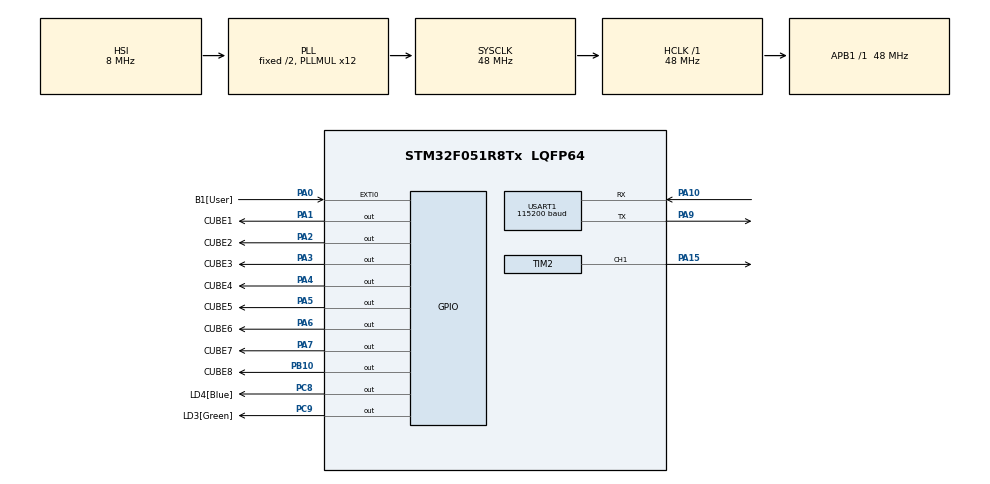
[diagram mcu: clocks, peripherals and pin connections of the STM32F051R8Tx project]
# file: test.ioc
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Mcu.Family=STM32F0
Mcu.Name=STM32F051R8Tx
Mcu.Package=LQFP64
NVIC.EXTI0_1_IRQn=true\:0\:0\:false\:false\:true\:true\:true
NVIC.TIM2_IRQn=true\:0\:0\:false\:false\:true\:true\:true
NVIC.USART1_IRQn=true\:0\:0\:false\:false\:true\:true\:true
PA0.GPIO_Label=B1[User]
PA0.GPIO_ModeDefaultEXTI=GPIO_MODE_IT_RISING_FALLING
PA0.GPIO_PuPd=GPIO_NOPULL
PA0.Signal=GPXTI0
PA1.GPIO_Label=CUBE1
PA1.GPIO_PuPd=GPIO_PULLUP
PA1.PinState=GPIO_PIN_SET
PA1.Signal=GPIO_Output
PA10.Mode=Asynchronous
PA10.Signal=USART1_RX
PA15.Signal=S_TIM2_CH1_ETR
PA2.GPIO_Label=CUBE2
PA2.GPIO_PuPd=GPIO_PULLUP
PA2.PinState=GPIO_PIN_SET
PA2.Signal=GPIO_Output
PA3.GPIO_Label=CUBE3
PA3.GPIO_PuPd=GPIO_PULLUP
PA3.PinState=GPIO_PIN_SET
PA3.Signal=GPIO_Output
PA4.GPIO_Label=CUBE4
PA4.GPIO_PuPd=GPIO_PULLUP
PA4.PinState=GPIO_PIN_SET
PA4.Signal=GPIO_Output
PA5.GPIO_Label=CUBE5
PA5.GPIO_PuPd=GPIO_PULLUP
PA5.PinState=GPIO_PIN_SET
PA5.Signal=GPIO_Output
PA6.GPIO_Label=CUBE6
PA6.GPIO_PuPd=GPIO_PULLUP
PA6.GPIO_Speed=GPIO_SPEED_FREQ_LOW
PA6.PinState=GPIO_PIN_SET
PA6.Signal=GPIO_Output
PA7.GPIO_Label=CUBE7
PA7.GPIO_PuPd=GPIO_PULLUP
PA7.PinState=GPIO_PIN_SET
PA7.Signal=GPIO_Output
PA9.Mode=Asynchronous
PA9.Signal=USART1_TX
PB10.GPIO_Label=CUBE8
PB10.GPIO_PuPd=GPIO_PULLUP
PB10.PinState=GPIO_PIN_SET
PB10.Signal=GPIO_Output
PC8.GPIO_Label=LD4[Blue]
PC8.Signal=GPIO_Output
PC9.GPIO_Label=LD3[Green]
PC9.Signal=GPIO_Output
ProjectManager.HeapSize=0x200
ProjectManager.StackSize=0x400
ProjectManager.TargetToolchain=MDK-ARM V5.27
RCC.AHBFreq_Value=48000000
RCC.APB1Freq_Value=48000000
RCC.APB1TimFreq_Value=48000000
RCC.HCLKFreq_Value=48000000
RCC.PLLMUL=RCC_PLL_MUL12
RCC.SYSCLKFreq_VALUE=48000000
RCC.SYSCLKSource=RCC_SYSCLKSOURCE_PLLCLK
SH.S_TIM2_CH1_ETR.0=TIM2_CH1,PWM Generation1 CH1
TIM2.AutoReloadPreload=TIM_AUTORELOAD_PRELOAD_DISABLE
TIM2.Channel-PWM\ Generation1\ CH1=TIM_CHANNEL_1
TIM2.Period=1000
TIM2.Prescaler=960
USART1.BaudRate=115200
USART1.VirtualMode-Asynchronous=VM_ASYNC
VP_TIM2_VS_ClockSourceINT.Mode=Internal
board=custom

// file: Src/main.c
/* USER CODE BEGIN Header */
/**
  ******************************************************************************
  * @file           : main.c
  * @brief          : Main program body
  ******************************************************************************
  * @attention
  *
  * <h2><center>&copy; Copyright (c) 2020 STMicroelectronics.
  * All rights reserved.</center></h2>
  *
  * This software component is licensed by ST under BSD 3-Clause license,
  * the "License"; You may not use this file except in compliance with the
  * License. You may obtain a copy of the License at:
  *                        opensource.org/licenses/BSD-3-Clause
  *
  ******************************************************************************
  */
/* USER CODE END Header */

#include "main.h"

/* USER CODE BEGIN Includes */
#include <stdio.h>
#include <string.h>
/* USER CODE END Includes */

/* USER CODE BEGIN PD */
#define TEST_PASS 0
#define TEST_FAIL 1
#define TEST_GO 1
#define TEST_WAIT 0
/* USER CODE END PD */

TIM_HandleTypeDef htim2;

UART_HandleTypeDef huart1;

/* USER CODE BEGIN PV */
uint8_t buf_uart_rx[128];
uint8_t uart_rx[2];
int pos_uart_rx = 0;
int isUartRXCplt = 0;

int isGoTest = 0;

/* USER CODE END PV */

void SystemClock_Config(void);
static void MX_GPIO_Init(void);
static void MX_USART1_UART_Init(void);
static void MX_TIM2_Init(void);
/* USER CODE BEGIN PFP */
#ifdef __GNUC__
  /* With GCC/RAISONANCE, small printf (option LD Linker->Libraries->Small printf
     set to 'Yes') calls __io_putchar() */
  #define PUTCHAR_PROTOTYPE int __io_putchar(int ch)
#else
  #define PUTCHAR_PROTOTYPE int fputc(int ch, FILE *f)
#endif /* __GNUC__ */
/**
  * @brief  Retargets the C library printf function to the USART.
  * @param  None
  * @retval None
  */
PUTCHAR_PROTOTYPE
{
    /* Place your implementation of fputc here */
    /* e.g. write a character to the USART */
    //HAL_UART_Transmit(&huart1, (uint8_t *)&ch, 1, 100);
    return ch;
}

void HAL_UART_RxCpltCallback(UART_HandleTypeDef *huart){
	//HAL_GPIO_TogglePin(GPIOC, GPIO_PIN_9);
	if (huart->Instance != USART1) return;
	if (pos_uart_rx == 0) memset(buf_uart_rx, 0, 128);
	if (pos_uart_rx >= 128) {
		pos_uart_rx = 0;
	}
	HAL_UART_Receive_IT(huart, uart_rx, 1);
	if (uart_rx[0] == ' ') {
		buf_uart_rx[pos_uart_rx++] = uart_rx[0];
		isUartRXCplt = 1;
		pos_uart_rx = 0;
	}
	else {
		buf_uart_rx[pos_uart_rx++] = uart_rx[0];
		isUartRXCplt = 1;
	}
	//int i = 1000*1000;
	//while (i--) {__NOP();}
	//HAL_GPIO_TogglePin(GPIOC, GPIO_PIN_9);
}

/**
  * @brief  EXTI line detection callback.
  * @param  GPIO_Pin Specifies the port pin connected to corresponding EXTI line.
  * @retval None
  */
void HAL_GPIO_EXTI_Callback(uint16_t GPIO_Pin)
{
#if 0
	//int i = 1000*1000;
  switch (GPIO_Pin) {
		case GPIO_PIN_0:
			HAL_GPIO_WritePin(GPIOC, GPIO_PIN_9, HAL_GPIO_ReadPin(GPIOA, GPIO_PIN_0));
			__HAL_TIM_SET_COMPARE(&htim2, TIM_CHANNEL_1, 125);
			i = 1*1000*1000;
			while (i--) {__NOP();}
			__HAL_TIM_SET_COMPARE(&htim2, TIM_CHANNEL_1, 25);
			break;
		case GPIO_PIN_1:
			//HAL_GPIO_WritePin(GPIOC, GPIO_PIN_9, GPIO_PIN_SET);
			__HAL_TIM_SET_COMPARE(&htim2, TIM_CHANNEL_1, 125);
			i = 3*1000*1000;
			while (i--) {__NOP();}
			__HAL_TIM_SET_COMPARE(&htim2, TIM_CHANNEL_1, 25);
			break;
		default:
			break;
	}
#endif
	isGoTest = TEST_GO;
	HAL_GPIO_TogglePin(GPIOC, GPIO_PIN_8);
}

int test8MAGNET(void) {
	GPIO_PinState bitstatus = GPIO_PIN_RESET;
	int ret = TEST_PASS;

#if 0 //pressure test
	return ret;
#endif

	bitstatus = HAL_GPIO_ReadPin(GPIOA, CUBE1_Pin);
	if (bitstatus == GPIO_PIN_SET) {
		ret |= (0x1ul<<0);
		//return ret;
	}
	bitstatus = HAL_GPIO_ReadPin(GPIOA, CUBE2_Pin);
	if (bitstatus == GPIO_PIN_SET) {
		ret |= (0x1ul<<1);
		//return ret;
	}
	bitstatus = HAL_GPIO_ReadPin(GPIOA, CUBE3_Pin);
	if (bitstatus == GPIO_PIN_SET) {
		ret |= (0x1ul<<2);
		//return ret;
	}
	bitstatus = HAL_GPIO_ReadPin(GPIOA, CUBE4_Pin);
	if (bitstatus == GPIO_PIN_SET) {
		ret |= (0x1ul<<3);
		//return ret;
	}
	bitstatus = HAL_GPIO_ReadPin(GPIOA, CUBE5_Pin);
	if (bitstatus == GPIO_PIN_SET) {
		ret |= (0x1ul<<4);
		//return ret;
	}
	bitstatus = HAL_GPIO_ReadPin(GPIOA, CUBE6_Pin);
#if 0 //my sensor broken...
	if (bitstatus == GPIO_PIN_SET) {
		ret |= (0x1ul<<5);
		//return ret;
	}
#endif
	bitstatus = HAL_GPIO_ReadPin(GPIOA, CUBE7_Pin);
#if 1 //my sensor broken...
	if (bitstatus == GPIO_PIN_SET) {
		ret |= (0x1ul<<6);
		//return ret;
	}
#endif
	bitstatus = HAL_GPIO_ReadPin(GPIOB, CUBE8_Pin);
	if (bitstatus == GPIO_PIN_SET) {
		ret |= (0x1ul<<7);
		//return ret;
	}
	return ret;
}

/* USER CODE END PFP */

int main(void)
{

  /* MCU Configuration--------------------------------------------------------*/

  /* Reset of all peripherals, Initializes the Flash interface and the Systick. */
  HAL_Init();

  /* Configure the system clock */
  SystemClock_Config();

  /* Initialize all configured peripherals */
  MX_GPIO_Init();
  MX_USART1_UART_Init();
  MX_TIM2_Init();
  /* USER CODE BEGIN 2 */
	HAL_UART_Receive_IT(&huart1, uart_rx, 1);
	HAL_TIM_PWM_Start(&htim2, TIM_CHANNEL_1);
  /* USER CODE END 2 */

  /* Infinite loop */
  /* USER CODE BEGIN WHILE */
	int i = 1000*1000;
	int ret = TEST_FAIL;
	char msg[32];
  while (1)
  {
		ret = TEST_FAIL;
		//if (isGoTest == TEST_GO) {
		if (1) {
			ret = test8MAGNET();
		}
		if (ret == TEST_PASS) {
			// servo open and close
			HAL_GPIO_WritePin(GPIOC, GPIO_PIN_9, HAL_GPIO_ReadPin(GPIOA, GPIO_PIN_0));
			__HAL_TIM_SET_COMPARE(&htim2, TIM_CHANNEL_1, 125);
			i = 1*1000*1000;
			while (i--) {__NOP();}
			__HAL_TIM_SET_COMPARE(&htim2, TIM_CHANNEL_1, 25);
			HAL_Delay(1*1000);
		}
		else {
			HAL_GPIO_WritePin(GPIOC, GPIO_PIN_8, GPIO_PIN_SET);
			HAL_Delay(1*500);
			HAL_GPIO_WritePin(GPIOC, GPIO_PIN_8, GPIO_PIN_RESET);
		}
		isGoTest = TEST_WAIT;

#if 1 //print uart buffer
			if (ret != TEST_PASS) {
				sprintf(msg, "%s0x%x\n", "[TEST]:", ret);
				if ((ret & (0x1ul<<0))) {
					strcat(msg, "[1]");
				}
				if ((ret & (0x1ul<<1))) {
					strcat(msg, "[2]");
				}
				if ((ret & (0x1ul<<2))) {
					strcat(msg, "[3]");
				}
				if ((ret & (0x1ul<<3))) {
					strcat(msg, "[4]");
				}
				if ((ret & (0x1ul<<4))) {
					strcat(msg, "[5]");
				}
				if ((ret & (0x1ul<<5))) {
					strcat(msg, "[6]");
				}
				if ((ret & (0x1ul<<6))) {
					strcat(msg, "[7]");
				}
				if ((ret & (0x1ul<<7))) {
					strcat(msg, "[8]");
				}
				strcat(msg, "FAIL\n");
				int len = strlen(msg);
				HAL_UART_Transmit(&huart1, (uint8_t *)msg, len, 100*len);
			}
			else {
				sprintf(msg, "%s\n", "[TEST PASS]");
				int len = strlen(msg);
				HAL_UART_Transmit(&huart1, (uint8_t *)msg, len, 100*len);
			}
#else
		__NOP();
#endif
		HAL_Delay(1*40);
		//HAL_GPIO_TogglePin(GPIOC, GPIO_PIN_8);
	}
    /* USER CODE END WHILE */

}

void SystemClock_Config(void)
{
  RCC_OscInitTypeDef RCC_OscInitStruct = {0};
  RCC_ClkInitTypeDef RCC_ClkInitStruct = {0};
  RCC_PeriphCLKInitTypeDef PeriphClkInit = {0};

  /** Initializes the CPU, AHB and APB busses clocks
  */
  RCC_OscInitStruct.OscillatorType = RCC_OSCILLATORTYPE_HSI;
  RCC_OscInitStruct.HSIState = RCC_HSI_ON;
  RCC_OscInitStruct.HSICalibrationValue = RCC_HSICALIBRATION_DEFAULT;
  RCC_OscInitStruct.PLL.PLLState = RCC_PLL_ON;
  RCC_OscInitStruct.PLL.PLLSource = RCC_PLLSOURCE_HSI;
  RCC_OscInitStruct.PLL.PLLMUL = RCC_PLL_MUL12;
  RCC_OscInitStruct.PLL.PREDIV = RCC_PREDIV_DIV1;
  if (HAL_RCC_OscConfig(&RCC_OscInitStruct) != HAL_OK)
  {
    Error_Handler();
  }
  /** Initializes the CPU, AHB and APB busses clocks
  */
  RCC_ClkInitStruct.ClockType = RCC_CLOCKTYPE_HCLK|RCC_CLOCKTYPE_SYSCLK
                              |RCC_CLOCKTYPE_PCLK1;
  RCC_ClkInitStruct.SYSCLKSource = RCC_SYSCLKSOURCE_PLLCLK;
  RCC_ClkInitStruct.AHBCLKDivider = RCC_SYSCLK_DIV1;
  RCC_ClkInitStruct.APB1CLKDivider = RCC_HCLK_DIV1;

  if (HAL_RCC_ClockConfig(&RCC_ClkInitStruct, FLASH_LATENCY_1) != HAL_OK)
  {
    Error_Handler();
  }
  PeriphClkInit.PeriphClockSelection = RCC_PERIPHCLK_USART1;
  PeriphClkInit.Usart1ClockSelection = RCC_USART1CLKSOURCE_PCLK1;
  if (HAL_RCCEx_PeriphCLKConfig(&PeriphClkInit) != HAL_OK)
  {
    Error_Handler();
  }
}

static void MX_TIM2_Init(void)
{

  TIM_ClockConfigTypeDef sClockSourceConfig = {0};
  TIM_MasterConfigTypeDef sMasterConfig = {0};
  TIM_OC_InitTypeDef sConfigOC = {0};

  htim2.Instance = TIM2;
  htim2.Init.Prescaler = 960;
  htim2.Init.CounterMode = TIM_COUNTERMODE_UP;
  htim2.Init.Period = 1000;
  htim2.Init.ClockDivision = TIM_CLOCKDIVISION_DIV1;
  htim2.Init.AutoReloadPreload = TIM_AUTORELOAD_PRELOAD_DISABLE;
  if (HAL_TIM_Base_Init(&htim2) != HAL_OK)
  {
    Error_Handler();
  }
  sClockSourceConfig.ClockSource = TIM_CLOCKSOURCE_INTERNAL;
  if (HAL_TIM_ConfigClockSource(&htim2, &sClockSourceConfig) != HAL_OK)
  {
    Error_Handler();
  }
  if (HAL_TIM_PWM_Init(&htim2) != HAL_OK)
  {
    Error_Handler();
  }
  sMasterConfig.MasterOutputTrigger = TIM_TRGO_RESET;
  sMasterConfig.MasterSlaveMode = TIM_MASTERSLAVEMODE_DISABLE;
  if (HAL_TIMEx_MasterConfigSynchronization(&htim2, &sMasterConfig) != HAL_OK)
  {
    Error_Handler();
  }
  sConfigOC.OCMode = TIM_OCMODE_PWM1;
  sConfigOC.Pulse = 0;
  sConfigOC.OCPolarity = TIM_OCPOLARITY_HIGH;
  sConfigOC.OCFastMode = TIM_OCFAST_DISABLE;
  if (HAL_TIM_PWM_ConfigChannel(&htim2, &sConfigOC, TIM_CHANNEL_1) != HAL_OK)
  {
    Error_Handler();
  }
  HAL_TIM_MspPostInit(&htim2);

}

static void MX_USART1_UART_Init(void)
{

  huart1.Instance = USART1;
  huart1.Init.BaudRate = 115200;
  huart1.Init.WordLength = UART_WORDLENGTH_8B;
  huart1.Init.StopBits = UART_STOPBITS_1;
  huart1.Init.Parity = UART_PARITY_NONE;
  huart1.Init.Mode = UART_MODE_TX_RX;
  huart1.Init.HwFlowCtl = UART_HWCONTROL_NONE;
  huart1.Init.OverSampling = UART_OVERSAMPLING_16;
  huart1.Init.OneBitSampling = UART_ONE_BIT_SAMPLE_DISABLE;
  huart1.AdvancedInit.AdvFeatureInit = UART_ADVFEATURE_NO_INIT;
  if (HAL_UART_Init(&huart1) != HAL_OK)
  {
    Error_Handler();
  }

}

static void MX_GPIO_Init(void)
{
  GPIO_InitTypeDef GPIO_InitStruct = {0};

  /* GPIO Ports Clock Enable */
  __HAL_RCC_GPIOA_CLK_ENABLE();
  __HAL_RCC_GPIOB_CLK_ENABLE();
  __HAL_RCC_GPIOC_CLK_ENABLE();

  /*Configure GPIO pin Output Level */
  HAL_GPIO_WritePin(GPIOA, CUBE1_Pin|CUBE2_Pin|CUBE3_Pin|CUBE4_Pin
                          |CUBE5_Pin|CUBE6_Pin|CUBE7_Pin, GPIO_PIN_SET);

  /*Configure GPIO pin Output Level */
  HAL_GPIO_WritePin(CUBE8_GPIO_Port, CUBE8_Pin, GPIO_PIN_SET);

  /*Configure GPIO pin Output Level */
  HAL_GPIO_WritePin(GPIOC, LD4_Pin|LD3_Pin, GPIO_PIN_RESET);

  /*Configure GPIO pin : B1_Pin */
  GPIO_InitStruct.Pin = B1_Pin;
  GPIO_InitStruct.Mode = GPIO_MODE_IT_RISING_FALLING;
  GPIO_InitStruct.Pull = GPIO_NOPULL;
  HAL_GPIO_Init(B1_GPIO_Port, &GPIO_InitStruct);

  /*Configure GPIO pins : CUBE1_Pin CUBE2_Pin CUBE3_Pin CUBE4_Pin
                           CUBE5_Pin CUBE6_Pin CUBE7_Pin */
  GPIO_InitStruct.Pin = CUBE1_Pin|CUBE2_Pin|CUBE3_Pin|CUBE4_Pin
                          |CUBE5_Pin|CUBE6_Pin|CUBE7_Pin;
  GPIO_InitStruct.Mode = GPIO_MODE_OUTPUT_PP;
  GPIO_InitStruct.Pull = GPIO_PULLUP;
  GPIO_InitStruct.Speed = GPIO_SPEED_FREQ_LOW;
  HAL_GPIO_Init(GPIOA, &GPIO_InitStruct);

  /*Configure GPIO pin : CUBE8_Pin */
  GPIO_InitStruct.Pin = CUBE8_Pin;
  GPIO_InitStruct.Mode = GPIO_MODE_OUTPUT_PP;
  GPIO_InitStruct.Pull = GPIO_PULLUP;
  GPIO_InitStruct.Speed = GPIO_SPEED_FREQ_LOW;
  HAL_GPIO_Init(CUBE8_GPIO_Port, &GPIO_InitStruct);

  /*Configure GPIO pins : LD4_Pin LD3_Pin */
  GPIO_InitStruct.Pin = LD4_Pin|LD3_Pin;
  GPIO_InitStruct.Mode = GPIO_MODE_OUTPUT_PP;
  GPIO_InitStruct.Pull = GPIO_NOPULL;
  GPIO_InitStruct.Speed = GPIO_SPEED_FREQ_LOW;
  HAL_GPIO_Init(GPIOC, &GPIO_InitStruct);

  /* EXTI interrupt init*/
  HAL_NVIC_SetPriority(EXTI0_1_IRQn, 0, 0);
  HAL_NVIC_EnableIRQ(EXTI0_1_IRQn);

}

void Error_Handler(void)
{
}

/************************ (C) COPYRIGHT STMicroelectronics *****END OF FILE****/
